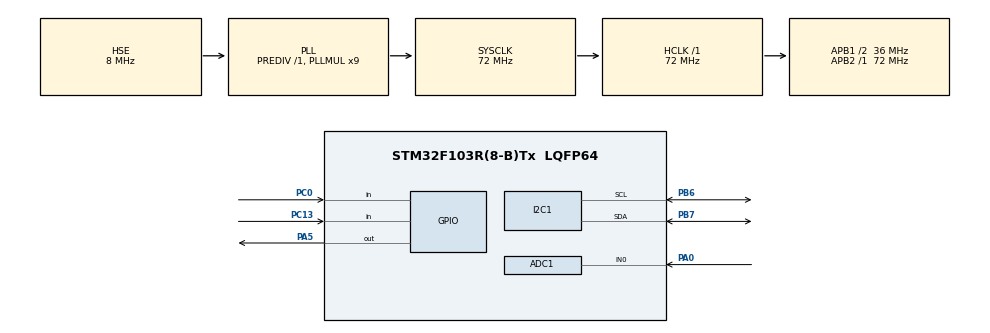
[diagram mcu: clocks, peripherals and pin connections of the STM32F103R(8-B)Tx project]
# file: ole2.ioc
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ADC1.Channel-3\#ChannelRegularConversion=ADC_CHANNEL_0
ADC1.Channel-4\#ChannelRegularConversion=ADC_CHANNEL_TEMPSENSOR
ADC1.ContinuousConvMode=ENABLE
ADC1.DataAlign=ADC_DATAALIGN_RIGHT
ADC1.DiscontinuousConvMode=DISABLE
ADC1.EnableAnalogWatchDog=false
ADC1.EnableRegularConversion=ENABLE
ADC1.ExternalTrigConv=ADC_SOFTWARE_START
ADC1.InjNumberOfConversion=0
ADC1.NbrOfConversion=2
ADC1.NbrOfConversionFlag=1
ADC1.Rank-3\#ChannelRegularConversion=1
ADC1.Rank-4\#ChannelRegularConversion=2
ADC1.SamplingTime-3\#ChannelRegularConversion=ADC_SAMPLETIME_239CYCLES_5
ADC1.SamplingTime-4\#ChannelRegularConversion=ADC_SAMPLETIME_239CYCLES_5
ADC1.ScanConvMode=ADC_SCAN_ENABLE
ADC1.master=1
Dma.ADC1.0.Direction=DMA_PERIPH_TO_MEMORY
Dma.ADC1.0.Instance=DMA1_Channel1
Dma.ADC1.0.MemDataAlignment=DMA_MDATAALIGN_WORD
Dma.ADC1.0.MemInc=DMA_MINC_ENABLE
Dma.ADC1.0.Mode=DMA_CIRCULAR
Dma.ADC1.0.PeriphDataAlignment=DMA_PDATAALIGN_WORD
Dma.ADC1.0.PeriphInc=DMA_PINC_DISABLE
Dma.ADC1.0.Priority=DMA_PRIORITY_LOW
Dma.Request0=ADC1
Mcu.Family=STM32F1
Mcu.Name=STM32F103R(8-B)Tx
Mcu.Package=LQFP64
NVIC.DMA1_Channel1_IRQn=true\:0\:0\:false\:false\:true\:false
NVIC.PriorityGroup=NVIC_PRIORITYGROUP_4
PA0-WKUP.Signal=ADCx_IN0
PA13.Mode=Serial_Wire
PA13.Signal=SYS_JTMS-SWDIO
PA14.Mode=Serial_Wire
PA14.Signal=SYS_JTCK-SWCLK
PA5.Signal=GPIO_Output
PB6.Mode=I2C
PB6.Signal=I2C1_SCL
PB7.Mode=I2C
PB7.Signal=I2C1_SDA
PC0.GPIO_PuPd=GPIO_PULLUP
PC0.Signal=GPIO_Input
PC13-TAMPER-RTC.GPIO_PuPd=GPIO_PULLUP
PC13-TAMPER-RTC.Signal=GPIO_Input
PD0-OSC_IN.Mode=HSE-External-Oscillator
PD0-OSC_IN.Signal=RCC_OSC_IN
PD1-OSC_OUT.Mode=HSE-External-Oscillator
PD1-OSC_OUT.Signal=RCC_OSC_OUT
ProjectManager.HeapSize=0x200
ProjectManager.StackSize=0x400
ProjectManager.TargetToolchain=MDK-ARM V5
RCC.ADCPresc=RCC_ADCPCLK2_DIV6
RCC.AHBFreq_Value=72000000
RCC.APB1CLKDivider=RCC_HCLK_DIV2
RCC.APB1Freq_Value=36000000
RCC.APB1TimFreq_Value=72000000
RCC.APB2Freq_Value=72000000
RCC.APB2TimFreq_Value=72000000
RCC.HCLKFreq_Value=72000000
RCC.PLLMUL=RCC_PLL_MUL9
RCC.PLLSourceVirtual=RCC_PLLSOURCE_HSE
RCC.SYSCLKFreq_VALUE=72000000
RCC.SYSCLKSource=RCC_SYSCLKSOURCE_PLLCLK
RCC.USBFreq_Value=72000000
SH.ADCx_IN0.0=ADC1_IN0,IN0
VP_ADC1_TempSens_Input.Mode=IN-TempSens
board=ole2

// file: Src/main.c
/**
  ******************************************************************************
  * File Name          : main.c
  * Description        : Main program body
  ******************************************************************************
  ** This notice applies to any and all portions of this file
  * that are not between comment pairs USER CODE BEGIN and
  * USER CODE END. Other portions of this file, whether
  * inserted by the user or by software development tools
  * are owned by their respective copyright owners.
  *
  * COPYRIGHT(c) 2017 STMicroelectronics
  *
  * Redistribution and use in source and binary forms, with or without modification,
  * are permitted provided that the following conditions are met:
  *   1. Redistributions of source code must retain the above copyright notice,
  *      this list of conditions and the following disclaimer.
  *   2. Redistributions in binary form must reproduce the above copyright notice,
  *      this list of conditions and the following disclaimer in the documentation
  *      and/or other materials provided with the distribution.
  *   3. Neither the name of STMicroelectronics nor the names of its contributors
  *      may be used to endorse or promote products derived from this software
  *      without specific prior written permission.
  *
  * THIS SOFTWARE IS PROVIDED BY THE COPYRIGHT HOLDERS AND CONTRIBUTORS "AS IS"
  * AND ANY EXPRESS OR IMPLIED WARRANTIES, INCLUDING, BUT NOT LIMITED TO, THE
  * IMPLIED WARRANTIES OF MERCHANTABILITY AND FITNESS FOR A PARTICULAR PURPOSE ARE
  * DISCLAIMED. IN NO EVENT SHALL THE COPYRIGHT HOLDER OR CONTRIBUTORS BE LIABLE
  * FOR ANY DIRECT, INDIRECT, INCIDENTAL, SPECIAL, EXEMPLARY, OR CONSEQUENTIAL
  * DAMAGES (INCLUDING, BUT NOT LIMITED TO, PROCUREMENT OF SUBSTITUTE GOODS OR
  * SERVICES; LOSS OF USE, DATA, OR PROFITS; OR BUSINESS INTERRUPTION) HOWEVER
  * CAUSED AND ON ANY THEORY OF LIABILITY, WHETHER IN CONTRACT, STRICT LIABILITY,
  * OR TORT (INCLUDING NEGLIGENCE OR OTHERWISE) ARISING IN ANY WAY OUT OF THE USE
  * OF THIS SOFTWARE, EVEN IF ADVISED OF THE POSSIBILITY OF SUCH DAMAGE.
  *
  ******************************************************************************
  */

#include "main.h"
#include "stm32f1xx_hal.h"

/* USER CODE BEGIN Includes */
#include "ssd1306.h"
#include "fonts.h"

/* USER CODE END Includes */

ADC_HandleTypeDef hadc1;
DMA_HandleTypeDef hdma_adc1;

I2C_HandleTypeDef hi2c1;

/* USER CODE BEGIN PV */
/* Private variables ---------------------------------------------------------*/
uint32_t adc_buffer[2];
float value[2];
float read_values[2];
char str[5];
char vOut1[9],vOut2[9];
int voltage=50;
char voltage2[5];

float V_25 = 1.34;
float Slope = 4.3e-3;
float Vref = 3.36;
float V_sense;
float temp;
/* USER CODE END PV */

void SystemClock_Config(void);
static void MX_GPIO_Init(void);
static void MX_DMA_Init(void);
static void MX_I2C1_Init(void);
static void MX_ADC1_Init(void);

/* USER CODE BEGIN PFP */
/* Private function prototypes -----------------------------------------------*/
void HAL_ADC_ConvCpltCallback(ADC_HandleTypeDef* hadc)
{
		if (hadc->Instance == ADC1)
			for (int i=0; i<2; i++)
		{
					value[i]=adc_buffer[i];
		}

}
/* USER CODE END PFP */

int main(void)
{

  /* MCU Configuration----------------------------------------------------------*/

  /* Reset of all peripherals, Initializes the Flash interface and the Systick. */
  HAL_Init();

  /* Configure the system clock */
  SystemClock_Config();

  /* Initialize all configured peripherals */
  MX_GPIO_Init();
  MX_DMA_Init();
  MX_I2C1_Init();
  MX_ADC1_Init();

  /* USER CODE BEGIN 2 */
	HAL_ADC_Start_DMA(&hadc1,adc_buffer,2);

	ssd1306_Init();

	//--------------frame
	SSD1306_DrawLine(0,64,128,64,White);
	SSD1306_DrawLine(0,0,128,0,White);
	SSD1306_DrawLine(128,0,128,64,White);
	SSD1306_DrawLine(0,0,0,64,White);

//	SSD1306_DrawLine(0,15,92,15,White);
	SSD1306_DrawLine(0,33,128,33,White);

//	SSD1306_DrawLine(44,0,44,15,White);
//	SSD1306_DrawLine(92,0,92,33,White);

	//---------------frame end

	//---------------acum
	SSD1306_DrawLine(4,49,27,49,White);
	SSD1306_DrawLine(4,61,27,61,White);
	SSD1306_DrawLine(3, 50, 3, 60,White);
	SSD1306_DrawLine(28, 50, 28, 60,White);
	SSD1306_DrawLine(29, 52, 29, 58,White);
	SSD1306_DrawLine(30, 52, 30, 58,White);
	SSD1306_DrawLine(31, 53, 31, 57,White);
	//---------------acum end
	//---------------acum2
	SSD1306_DrawLine(4,47,27,47,White);
	SSD1306_DrawLine(4,35,27,35,White);
	SSD1306_DrawLine(3, 36, 3, 46,White);
	SSD1306_DrawLine(28, 36, 28, 46,White);
	SSD1306_DrawLine(29, 38, 29, 44,White);
	SSD1306_DrawLine(30, 38, 30, 44,White);
	SSD1306_DrawLine(31, 39, 31, 43,White);
	//---------------acum2 end

	//---------------raw data 1 acum
	SSD1306_DrawLine(5,51,5,59,White);
	SSD1306_DrawLine(6,51,6,59,White);
	SSD1306_DrawLine(7,51,7,59,White);
	SSD1306_DrawLine(8,51,8,59,White);
	SSD1306_DrawLine(9,51,9,59,White);
	SSD1306_DrawLine(10,51,10,59,White);
	SSD1306_DrawLine(11,51,11,59,White);
	SSD1306_DrawLine(12,51,12,59,White);
	SSD1306_DrawLine(13,51,13,59,White);
	SSD1306_DrawLine(14,51,14,59,White);
	SSD1306_DrawLine(15,51,15,59,White);
	SSD1306_DrawLine(16,51,16,59,White);
	SSD1306_DrawLine(17,51,17,59,White);
	SSD1306_DrawLine(18,51,18,59,White);
	SSD1306_DrawLine(19,51,19,59,White);
	SSD1306_DrawLine(20,51,20,59,White);
	SSD1306_DrawLine(21,51,21,59,White);
	SSD1306_DrawLine(22,51,22,59,White);
	SSD1306_DrawLine(23,51,23,59,White);
	SSD1306_DrawLine(24,51,24,59,White);
	SSD1306_DrawLine(25,51,25,59,White);
	SSD1306_DrawLine(26,51,26,59,White);
	//---------------raw data acum 1 end

	//---------------raw data 2 acum
	SSD1306_DrawLine(5,37,5,45,White);
	SSD1306_DrawLine(6,37,6,45,White);
	SSD1306_DrawLine(7,37,7,45,White);
	SSD1306_DrawLine(8,37,8,45,White);
	SSD1306_DrawLine(9,37,9,45,White);
	SSD1306_DrawLine(10,37,10,45,White);
	SSD1306_DrawLine(11,37,11,45,White);
	SSD1306_DrawLine(12,37,12,45,White);
	SSD1306_DrawLine(13,37,13,45,White);
	SSD1306_DrawLine(14,37,14,45,White);
	SSD1306_DrawLine(15,37,15,45,White);
	SSD1306_DrawLine(16,37,16,45,White);
	SSD1306_DrawLine(17,37,17,45,White);
	SSD1306_DrawLine(18,37,18,45,White);
	SSD1306_DrawLine(19,37,19,45,White);
	SSD1306_DrawLine(20,37,20,45,White);
	SSD1306_DrawLine(21,37,21,45,White);
	SSD1306_DrawLine(22,37,22,45,White);
	SSD1306_DrawLine(23,37,23,45,White);
	SSD1306_DrawLine(24,37,24,45,White);
	SSD1306_DrawLine(25,37,25,45,White);
	SSD1306_DrawLine(26,37,26,45,White);
	//---------------raw data acum 2 end

	//---------------volt monitor 1
	ssd1306_SetCursor(35,37);
  ssd1306_WriteString("3.66v",Font_7x10,White);
	//---------------volt monitor 1 end

	//---------------volt monitor 2
	ssd1306_SetCursor(35,51);
  ssd1306_WriteString("3.66v",Font_7x10,White);
	//---------------volt monitor 2 end

//	ssd1306_SetCursor(45,6);
 // ssd1306_WriteString("3.10V",Font_16x26,White);

	ssd1306_UpdateScreen();
  /* USER CODE END 2 */

  /* Infinite loop */
  while (1)
  {

  /* USER CODE BEGIN 3 */
			read_values[1]=(value[1]/4096)*3.3;
			read_values[0]=(value[0]/4096)*3.3;

	if (read_values[0]>3.3){
		SSD1306_DrawLine(5,51,5,59,White);
	}
	if (read_values[0]>3.4){
		SSD1306_DrawLine(6,51,6,59,White);
		SSD1306_DrawLine(5,51,5,59,White);
	}
		if (read_values[0]>3.4){
		SSD1306_DrawLine(6,51,6,59,White);
		SSD1306_DrawLine(5,51,5,59,White);
	}

	//	V_sense = value[1]/4096.0*Vref;
	//	temp = (V_25 - V_sense)/Slope + 25.0;

	//	sprintf(str,"%.2fV",read_values[1]);
//		sprintf(str,"%.2fC",temp);
	//	ssd1306_SetCursor(3,6);
	//	ssd1306_WriteString(str,Font_16x26,White);
	//	ssd1306_UpdateScreen();

						//------v out
					//	sprintf(vOut1,"%.2fV",read_values[0]);
					//	sprintf(vOut2,"%.2fV",read_values[1]);
					//	ssd1306_SetCursor(35,51);
					//	ssd1306_WriteString(vOut1,Font_7x10,White);
					//	ssd1306_SetCursor(35,37);
					//	ssd1306_WriteString(vOut2,Font_7x10,White);
					//	ssd1306_UpdateScreen();
						//------v out end
		Vout();
		if (!HAL_GPIO_ReadPin(GPIOC, GPIO_PIN_13))
						{
						voltage++;
            }

		if (!HAL_GPIO_ReadPin(GPIOC, GPIO_PIN_0))
						{
							voltage=voltage-2;
						}

					sprintf(voltage2,"%dW",voltage);
					ssd1306_SetCursor(5,5);
					ssd1306_WriteString(voltage2,Font_16x25,White);
					ssd1306_UpdateScreen();

  }
  /* USER CODE END 3 */

}

/** System Clock Configuration
*/
void SystemClock_Config(void)
{

  RCC_OscInitTypeDef RCC_OscInitStruct;
  RCC_ClkInitTypeDef RCC_ClkInitStruct;
  RCC_PeriphCLKInitTypeDef PeriphClkInit;

    /**Initializes the CPU, AHB and APB busses clocks
    */
  RCC_OscInitStruct.OscillatorType = RCC_OSCILLATORTYPE_HSE;
  RCC_OscInitStruct.HSEState = RCC_HSE_ON;
  RCC_OscInitStruct.HSEPredivValue = RCC_HSE_PREDIV_DIV1;
  RCC_OscInitStruct.HSIState = RCC_HSI_ON;
  RCC_OscInitStruct.PLL.PLLState = RCC_PLL_ON;
  RCC_OscInitStruct.PLL.PLLSource = RCC_PLLSOURCE_HSE;
  RCC_OscInitStruct.PLL.PLLMUL = RCC_PLL_MUL9;
  if (HAL_RCC_OscConfig(&RCC_OscInitStruct) != HAL_OK)
  {
    _Error_Handler(__FILE__, __LINE__);
  }

    /**Initializes the CPU, AHB and APB busses clocks
    */
  RCC_ClkInitStruct.ClockType = RCC_CLOCKTYPE_HCLK|RCC_CLOCKTYPE_SYSCLK
                              |RCC_CLOCKTYPE_PCLK1|RCC_CLOCKTYPE_PCLK2;
  RCC_ClkInitStruct.SYSCLKSource = RCC_SYSCLKSOURCE_PLLCLK;
  RCC_ClkInitStruct.AHBCLKDivider = RCC_SYSCLK_DIV1;
  RCC_ClkInitStruct.APB1CLKDivider = RCC_HCLK_DIV2;
  RCC_ClkInitStruct.APB2CLKDivider = RCC_HCLK_DIV1;

  if (HAL_RCC_ClockConfig(&RCC_ClkInitStruct, FLASH_LATENCY_2) != HAL_OK)
  {
    _Error_Handler(__FILE__, __LINE__);
  }

  PeriphClkInit.PeriphClockSelection = RCC_PERIPHCLK_ADC;
  PeriphClkInit.AdcClockSelection = RCC_ADCPCLK2_DIV6;
  if (HAL_RCCEx_PeriphCLKConfig(&PeriphClkInit) != HAL_OK)
  {
    _Error_Handler(__FILE__, __LINE__);
  }

    /**Configure the Systick interrupt time
    */
  HAL_SYSTICK_Config(HAL_RCC_GetHCLKFreq()/1000);

    /**Configure the Systick
    */
  HAL_SYSTICK_CLKSourceConfig(SYSTICK_CLKSOURCE_HCLK);

  /* SysTick_IRQn interrupt configuration */
  HAL_NVIC_SetPriority(SysTick_IRQn, 0, 0);
}

/* ADC1 init function */
static void MX_ADC1_Init(void)
{

  ADC_ChannelConfTypeDef sConfig;

    /**Common config
    */
  hadc1.Instance = ADC1;
  hadc1.Init.ScanConvMode = ADC_SCAN_ENABLE;
  hadc1.Init.ContinuousConvMode = ENABLE;
  hadc1.Init.DiscontinuousConvMode = DISABLE;
  hadc1.Init.ExternalTrigConv = ADC_SOFTWARE_START;
  hadc1.Init.DataAlign = ADC_DATAALIGN_RIGHT;
  hadc1.Init.NbrOfConversion = 2;
  if (HAL_ADC_Init(&hadc1) != HAL_OK)
  {
    _Error_Handler(__FILE__, __LINE__);
  }

    /**Configure Regular Channel
    */
  sConfig.Channel = ADC_CHANNEL_0;
  sConfig.Rank = 1;
  sConfig.SamplingTime = ADC_SAMPLETIME_239CYCLES_5;
  if (HAL_ADC_ConfigChannel(&hadc1, &sConfig) != HAL_OK)
  {
    _Error_Handler(__FILE__, __LINE__);
  }

    /**Configure Regular Channel
    */
  sConfig.Channel = ADC_CHANNEL_TEMPSENSOR;
  sConfig.Rank = 2;
  if (HAL_ADC_ConfigChannel(&hadc1, &sConfig) != HAL_OK)
  {
    _Error_Handler(__FILE__, __LINE__);
  }

}

/* I2C1 init function */
static void MX_I2C1_Init(void)
{

  hi2c1.Instance = I2C1;
  hi2c1.Init.ClockSpeed = 100000;
  hi2c1.Init.DutyCycle = I2C_DUTYCYCLE_2;
  hi2c1.Init.OwnAddress1 = 0;
  hi2c1.Init.AddressingMode = I2C_ADDRESSINGMODE_7BIT;
  hi2c1.Init.DualAddressMode = I2C_DUALADDRESS_DISABLE;
  hi2c1.Init.OwnAddress2 = 0;
  hi2c1.Init.GeneralCallMode = I2C_GENERALCALL_DISABLE;
  hi2c1.Init.NoStretchMode = I2C_NOSTRETCH_DISABLE;
  if (HAL_I2C_Init(&hi2c1) != HAL_OK)
  {
    _Error_Handler(__FILE__, __LINE__);
  }

}

static void MX_DMA_Init(void)
{
  /* DMA controller clock enable */
  __HAL_RCC_DMA1_CLK_ENABLE();

  /* DMA interrupt init */
  /* DMA1_Channel1_IRQn interrupt configuration */
  HAL_NVIC_SetPriority(DMA1_Channel1_IRQn, 0, 0);
  HAL_NVIC_EnableIRQ(DMA1_Channel1_IRQn);

}

/** Configure pins as
        * Analog
        * Input
        * Output
        * EVENT_OUT
        * EXTI
*/
static void MX_GPIO_Init(void)
{

  GPIO_InitTypeDef GPIO_InitStruct;

  /* GPIO Ports Clock Enable */
  __HAL_RCC_GPIOC_CLK_ENABLE();
  __HAL_RCC_GPIOD_CLK_ENABLE();
  __HAL_RCC_GPIOA_CLK_ENABLE();
  __HAL_RCC_GPIOB_CLK_ENABLE();

  /*Configure GPIO pin Output Level */
  HAL_GPIO_WritePin(GPIOA, GPIO_PIN_5, GPIO_PIN_RESET);

  /*Configure GPIO pins : PC13 PC0 */
  GPIO_InitStruct.Pin = GPIO_PIN_13|GPIO_PIN_0;
  GPIO_InitStruct.Mode = GPIO_MODE_INPUT;
  GPIO_InitStruct.Pull = GPIO_PULLUP;
  HAL_GPIO_Init(GPIOC, &GPIO_InitStruct);

  /*Configure GPIO pin : PA5 */
  GPIO_InitStruct.Pin = GPIO_PIN_5;
  GPIO_InitStruct.Mode = GPIO_MODE_OUTPUT_PP;
  GPIO_InitStruct.Speed = GPIO_SPEED_FREQ_LOW;
  HAL_GPIO_Init(GPIOA, &GPIO_InitStruct);

}

/* USER CODE BEGIN 4 */
void Vout(void)
{
						sprintf(vOut1,"%.2fV",read_values[0]);
						sprintf(vOut2,"%.2fV",read_values[1]);
						ssd1306_SetCursor(35,51);
						ssd1306_WriteString(vOut1,Font_7x10,White);
						ssd1306_SetCursor(35,37);
						ssd1306_WriteString(vOut2,Font_7x10,White);
						ssd1306_UpdateScreen();
}

/* USER CODE END 4 */

void _Error_Handler(char * file, int line)
{
  while(1)
  {
  }
}

/************************ (C) COPYRIGHT STMicroelectronics *****END OF FILE****/
